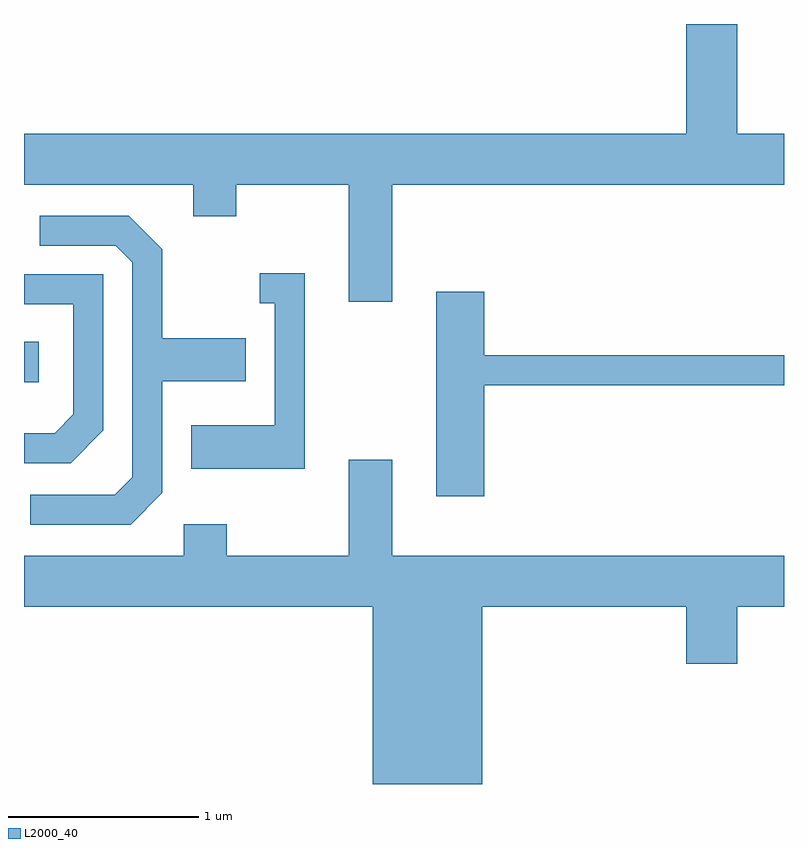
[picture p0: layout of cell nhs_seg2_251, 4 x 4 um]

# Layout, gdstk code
import gdstk
lib = gdstk.Library(unit=1e-6, precision=1e-09)
def R(c, l, rs):  # rectangles x0, y0, x1, y1
    for r in rs: c.add(gdstk.rectangle(r[:2], r[2:], *l))
def P(c, l, *ps):  # polygons
    for p in ps: c.add(gdstk.Polygon(p, *l))
L2000_40 = (2000, 40)

nhs_seg2_251 = lib.new_cell('nhs_seg2_251')
R(nhs_seg2_251, L2000_40, [(191.611,1073.916,191.689,1074.129)])
P(nhs_seg2_251, L2000_40, [(193.549,1074.956),(195.611,1074.956),(195.611,1075.224),(195.364,1075.224),(195.364,1075.802),(195.096,1075.802),(195.096,1075.224),(191.611,1075.224),(191.611,1074.956),(192.501,1074.956),(192.501,1074.791),(192.729,1074.791),(192.729,1074.956),(193.321,1074.956),(193.321,1074.341),(193.549,1074.341)],
  [(192.339,1073.334),(192.339,1073.921),(192.779,1073.921),(192.779,1074.149),(192.339,1074.149),(192.339,1074.617),(192.162,1074.794),(191.693,1074.794),(191.693,1074.636),(192.094,1074.636),(192.181,1074.549),(192.181,1073.417),(192.089,1073.324),(191.643,1073.324),(191.643,1073.166),(192.172,1073.166)],
  [(193.089,1074.489),(192.853,1074.489),(192.853,1074.331),(192.931,1074.331),(192.931,1073.689),(192.491,1073.689),(192.491,1073.461),(193.089,1073.461)],
  [(192.029,1073.664),(192.029,1074.484),(191.611,1074.484),(191.611,1074.326),(191.871,1074.326),(191.871,1073.747),(191.774,1073.649),(191.611,1073.649),(191.611,1073.491),(191.857,1073.491)],
  [(194.034,1073.901),(195.611,1073.901),(195.611,1074.059),(194.034,1074.059),(194.034,1074.394),(193.781,1074.394),(193.781,1073.316),(194.034,1073.316)],
  [(194.024,1072.736),(195.096,1072.736),(195.096,1072.436),(195.364,1072.436),(195.364,1072.736),(195.611,1072.736),(195.611,1073.004),(193.549,1073.004),(193.549,1073.509),(193.321,1073.509),(193.321,1073.004),(192.679,1073.004),(192.679,1073.169),(192.451,1073.169),(192.451,1073.004),(191.611,1073.004),(191.611,1072.736),(193.446,1072.736),(193.446,1071.802),(194.024,1071.802)])

lib.write_gds('nhs_seg2_251.gds')
